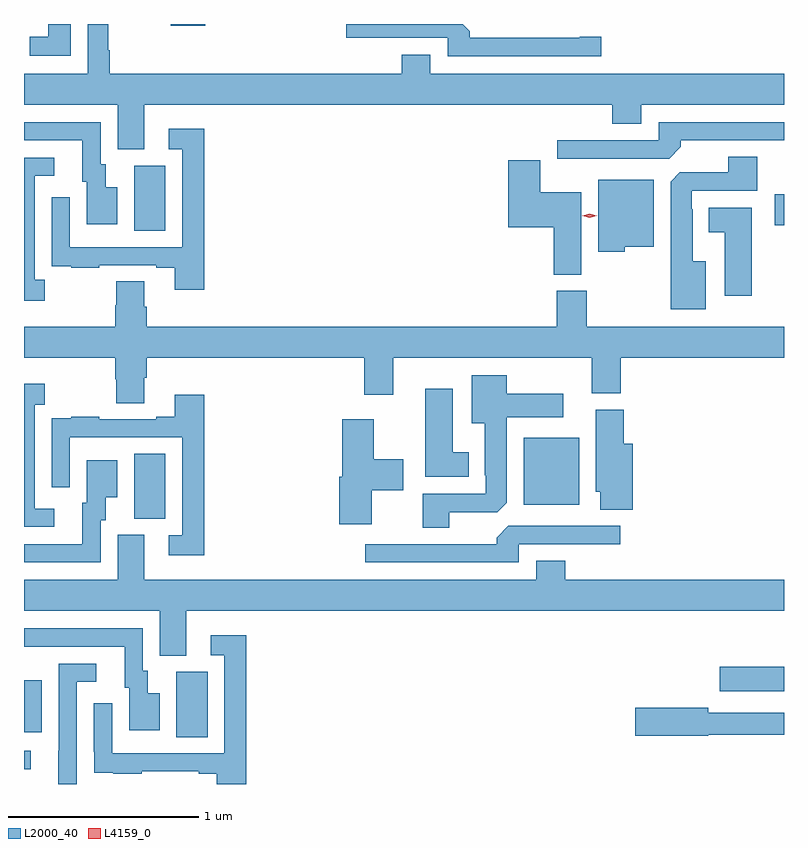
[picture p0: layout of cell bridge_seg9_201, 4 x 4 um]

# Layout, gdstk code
import gdstk
lib = gdstk.Library(unit=1e-6, precision=1e-09)
def R(c, l, rs):  # rectangles x0, y0, x1, y1
    for r in rs: c.add(gdstk.rectangle(r[:2], r[2:], *l))
def P(c, l, *ps):  # polygons
    for p in ps: c.add(gdstk.Polygon(p, *l))
L2000_40 = (2000, 40)
L4159_0 = (4159, 0)

bridge_seg9_201 = lib.new_cell('bridge_seg9_201')
R(bridge_seg9_201, L2000_40, [(166.78,1191.591,166.816,1191.687), (167.582,1191.76,167.746,1192.104), (166.78,1191.785,166.873,1192.06), (170.442,1192.001,170.78,1192.131), (167.36,1192.909,167.524,1193.252), (169.409,1192.982,169.702,1193.335), (167.36,1194.424,167.524,1194.768), (170.73,1194.454,170.78,1194.616), (167.552,1195.503,167.735,1195.513)])
P(bridge_seg9_201, L2000_40, [(167.413,1195.088),(169.877,1195.088),(169.877,1194.989),(170.029,1194.989),(170.029,1195.088),(170.78,1195.088),(170.78,1195.252),(168.919,1195.252),(168.919,1195.351),(168.767,1195.351),(168.767,1195.252),(167.231,1195.252),(167.231,1195.374),(167.224,1195.374),(167.224,1195.513),(167.115,1195.513),(167.115,1195.252),(166.78,1195.252),(166.78,1195.088),(167.273,1195.088),(167.273,1194.853),(167.413,1194.853)],
  [(169.819,1195.445),(169.706,1195.445),(169.706,1195.44),(169.127,1195.44),(169.127,1195.474),(169.088,1195.513),(168.477,1195.513),(168.477,1195.44),(169.011,1195.44),(169.011,1195.344),(169.819,1195.344)],
  [(167.026,1195.513),(166.907,1195.513),(166.907,1195.447),(166.809,1195.447),(166.809,1195.346),(167.026,1195.346)],
  [(167.272,1194.655),(167.209,1194.655),(167.209,1194.774),(167.184,1194.774),(167.184,1194.996),(166.78,1194.996),(166.78,1194.9),(167.087,1194.9),(167.087,1194.684),(167.111,1194.684),(167.111,1194.459),(167.272,1194.459)],
  [(170.237,1194.866),(170.237,1194.9),(170.78,1194.9),(170.78,1194.996),(170.121,1194.996),(170.121,1194.9),(169.587,1194.9),(169.587,1194.804),(170.175,1194.804)],
  [(167.729,1194.961),(167.541,1194.961),(167.541,1194.855),(167.613,1194.855),(167.613,1194.339),(167.022,1194.339),(167.022,1194.601),(166.926,1194.601),(166.926,1194.346),(166.927,1194.346),(166.927,1194.237),(167.029,1194.237),(167.029,1194.231),(167.177,1194.231),(167.177,1194.243),(167.477,1194.243),(167.477,1194.231),(167.573,1194.231),(167.573,1194.114),(167.729,1194.114)],
  [(170.368,1194.265),(170.299,1194.265),(170.299,1194.539),(170.295,1194.539),(170.295,1194.636),(170.639,1194.636),(170.639,1194.815),(170.486,1194.815),(170.486,1194.732),(170.232,1194.732),(170.183,1194.683),(170.183,1194.011),(170.368,1194.011)],
  [(166.888,1194.166),(166.836,1194.166),(166.836,1194.714),(166.939,1194.714),(166.939,1194.81),(166.78,1194.81),(166.78,1194.056),(166.888,1194.056)],
  [(169.714,1194.628),(169.498,1194.628),(169.498,1194.796),(169.328,1194.796),(169.328,1194.443),(169.568,1194.443),(169.568,1194.193),(169.714,1194.193)],
  [(169.941,1194.341),(170.095,1194.341),(170.095,1194.694),(169.802,1194.694),(169.802,1194.314),(169.941,1194.314)],
  [(170.611,1194.547),(170.384,1194.547),(170.384,1194.416),(170.468,1194.416),(170.468,1194.084),(170.611,1194.084)],
  [(167.413,1193.65),(167.426,1193.65),(167.426,1193.756),(168.572,1193.756),(168.572,1193.562),(168.724,1193.562),(168.724,1193.756),(169.769,1193.756),(169.769,1193.569),(169.922,1193.569),(169.922,1193.756),(170.78,1193.756),(170.78,1193.92),(169.743,1193.92),(169.743,1194.108),(169.583,1194.108),(169.583,1193.92),(167.426,1193.92),(167.426,1194.026),(167.413,1194.026),(167.413,1194.158),(167.266,1194.158),(167.266,1194.033),(167.261,1194.033),(167.261,1193.92),(166.78,1193.92),(166.78,1193.756),(167.261,1193.756),(167.261,1193.643),(167.266,1193.643),(167.266,1193.518),(167.413,1193.518)],
  [(169.018,1192.944),(169.272,1192.944),(169.321,1192.993),(169.321,1193.444),(169.618,1193.444),(169.618,1193.566),(169.321,1193.566),(169.321,1193.665),(169.136,1193.665),(169.136,1193.411),(169.205,1193.411),(169.205,1193.137),(169.209,1193.137),(169.209,1193.04),(168.878,1193.04),(168.878,1192.861),(169.018,1192.861)],
  [(166.939,1192.962),(166.836,1192.962),(166.836,1193.51),(166.888,1193.51),(166.888,1193.62),(166.78,1193.62),(166.78,1192.866),(166.939,1192.866)],
  [(169.12,1193.26),(169.036,1193.26),(169.036,1193.593),(168.893,1193.593),(168.893,1193.129),(169.12,1193.129)],
  [(167.729,1193.563),(167.573,1193.563),(167.573,1193.446),(167.477,1193.446),(167.477,1193.433),(167.177,1193.433),(167.177,1193.446),(167.029,1193.446),(167.029,1193.439),(166.927,1193.439),(166.927,1193.33),(166.926,1193.33),(166.926,1193.076),(167.022,1193.076),(167.022,1193.337),(167.613,1193.337),(167.613,1192.821),(167.541,1192.821),(167.541,1192.716),(167.729,1192.716)],
  [(169.985,1193.305),(169.937,1193.305),(169.937,1193.484),(169.79,1193.484),(169.79,1193.052),(169.814,1193.052),(169.814,1192.957),(169.985,1192.957)],
  [(168.61,1193.06),(168.775,1193.06),(168.775,1193.223),(168.622,1193.223),(168.622,1193.434),(168.455,1193.434),(168.455,1193.129),(168.44,1193.129),(168.44,1192.881),(168.61,1192.881)],
  [(167.184,1192.902),(167.209,1192.902),(167.209,1193.021),(167.272,1193.021),(167.272,1193.218),(167.111,1193.218),(167.111,1192.992),(167.087,1192.992),(167.087,1192.776),(166.78,1192.776),(166.78,1192.68),(167.184,1192.68)],
  [(169.383,1192.776),(169.918,1192.776),(169.918,1192.872),(169.329,1192.872),(169.268,1192.81),(169.268,1192.776),(168.576,1192.776),(168.576,1192.68),(169.383,1192.68)],
  [(167.413,1192.824),(167.273,1192.824),(167.273,1192.588),(166.78,1192.588),(166.78,1192.424),(167.495,1192.424),(167.495,1192.189),(167.635,1192.189),(167.635,1192.424),(170.78,1192.424),(170.78,1192.588),(169.628,1192.588),(169.628,1192.687),(169.475,1192.687),(169.475,1192.588),(167.413,1192.588)],
  [(167.494,1191.991),(167.431,1191.991),(167.431,1192.11),(167.406,1192.11),(167.406,1192.332),(166.78,1192.332),(166.78,1192.236),(167.309,1192.236),(167.309,1192.02),(167.333,1192.02),(167.333,1191.795),(167.494,1191.795)],
  [(167.951,1192.297),(167.763,1192.297),(167.763,1192.191),(167.835,1192.191),(167.835,1191.675),(167.244,1191.675),(167.244,1191.937),(167.148,1191.937),(167.148,1191.682),(167.149,1191.682),(167.149,1191.573),(167.251,1191.573),(167.251,1191.567),(167.399,1191.567),(167.399,1191.579),(167.699,1191.579),(167.699,1191.567),(167.795,1191.567),(167.795,1191.513),(167.951,1191.513)],
  [(167.058,1192.05),(167.161,1192.05),(167.161,1192.146),(166.962,1192.146),(166.962,1191.689),(166.961,1191.689),(166.961,1191.513),(167.058,1191.513)],
  [(170.382,1191.772),(170.78,1191.772),(170.78,1191.888),(170.382,1191.888),(170.382,1191.914),(169.998,1191.914),(169.998,1191.767),(170.382,1191.767)])
P(bridge_seg9_201, L4159_0, [(169.757,1194.494),(169.719,1194.504),(169.719,1194.504),(169.719,1194.504),(169.757,1194.514),(169.795,1194.504),(169.795,1194.504),(169.795,1194.503)])

lib.write_gds('bridge_seg9_201.gds')
